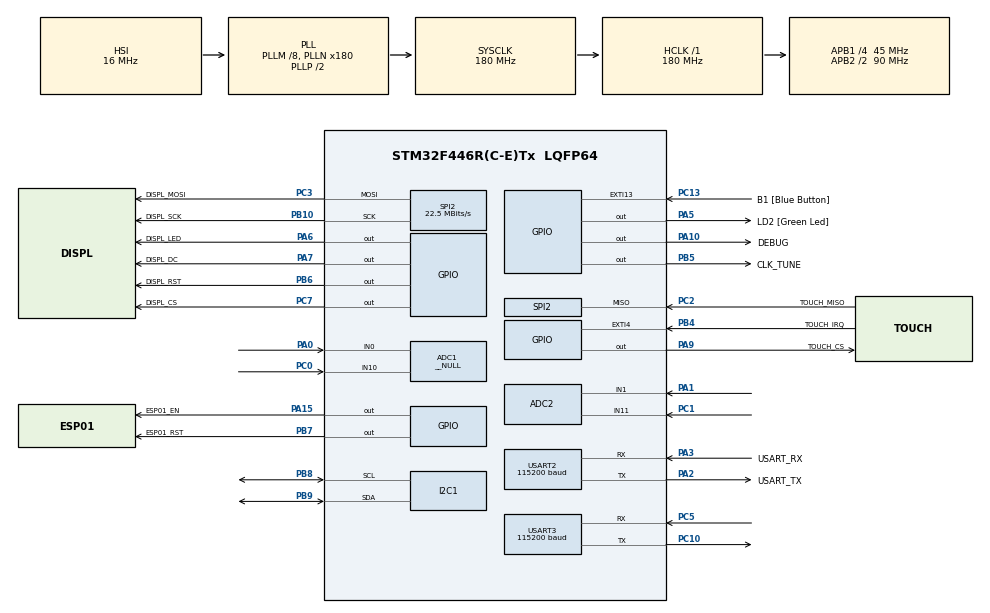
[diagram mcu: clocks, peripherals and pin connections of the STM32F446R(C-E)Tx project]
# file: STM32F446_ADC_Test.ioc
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ADC1.Channel-0\#ChannelRegularConversion=ADC_CHANNEL_0
ADC1.Channel-2\#ChannelRegularConversion=ADC_CHANNEL_10
ADC1.ClockPrescaler=ADC_CLOCK_SYNC_PCLK_DIV8
ADC1.ContinuousConvMode=DISABLE
ADC1.DMAContinuousRequests=ENABLE
ADC1.EOCSelection=ADC_EOC_SEQ_CONV
ADC1.ExternalTrigConv=ADC_EXTERNALTRIGCONV_T2_TRGO
ADC1.Mode=__NULL
ADC1.NbrOfConversion=2
ADC1.NbrOfConversionFlag=1
ADC1.Rank-0\#ChannelRegularConversion=1
ADC1.Rank-2\#ChannelRegularConversion=2
ADC1.SamplingTime-0\#ChannelRegularConversion=ADC_SAMPLETIME_56CYCLES
ADC1.SamplingTime-2\#ChannelRegularConversion=ADC_SAMPLETIME_56CYCLES
ADC1.ScanConvMode=ENABLE
ADC1.master=1
ADC2.Channel-4\#ChannelRegularConversion=ADC_CHANNEL_1
ADC2.Channel-5\#ChannelRegularConversion=ADC_CHANNEL_11
ADC2.ClockPrescaler=ADC_CLOCK_SYNC_PCLK_DIV8
ADC2.DMAContinuousRequests=ENABLE
ADC2.EOCSelection=ADC_EOC_SEQ_CONV
ADC2.ExternalTrigConv=ADC_EXTERNALTRIGCONV_T2_TRGO
ADC2.NbrOfConversion=2
ADC2.NbrOfConversionFlag=1
ADC2.Rank-4\#ChannelRegularConversion=1
ADC2.Rank-5\#ChannelRegularConversion=2
ADC2.SamplingTime-4\#ChannelRegularConversion=ADC_SAMPLETIME_56CYCLES
ADC2.SamplingTime-5\#ChannelRegularConversion=ADC_SAMPLETIME_56CYCLES
ADC2.ScanConvMode=ENABLE
Dma.ADC1.0.Direction=DMA_PERIPH_TO_MEMORY
Dma.ADC1.0.FIFOMode=DMA_FIFOMODE_DISABLE
Dma.ADC1.0.Instance=DMA2_Stream0
Dma.ADC1.0.MemDataAlignment=DMA_MDATAALIGN_HALFWORD
Dma.ADC1.0.MemInc=DMA_MINC_ENABLE
Dma.ADC1.0.Mode=DMA_CIRCULAR
Dma.ADC1.0.PeriphDataAlignment=DMA_PDATAALIGN_HALFWORD
Dma.ADC1.0.PeriphInc=DMA_PINC_DISABLE
Dma.ADC1.0.Priority=DMA_PRIORITY_VERY_HIGH
Dma.ADC2.1.Direction=DMA_PERIPH_TO_MEMORY
Dma.ADC2.1.FIFOMode=DMA_FIFOMODE_DISABLE
Dma.ADC2.1.Instance=DMA2_Stream2
Dma.ADC2.1.MemDataAlignment=DMA_MDATAALIGN_HALFWORD
Dma.ADC2.1.MemInc=DMA_MINC_ENABLE
Dma.ADC2.1.Mode=DMA_CIRCULAR
Dma.ADC2.1.PeriphDataAlignment=DMA_PDATAALIGN_HALFWORD
Dma.ADC2.1.PeriphInc=DMA_PINC_DISABLE
Dma.ADC2.1.Priority=DMA_PRIORITY_VERY_HIGH
Dma.Request0=ADC1
Dma.Request1=ADC2
Dma.Request2=SPI2_TX
Dma.SPI2_TX.2.Direction=DMA_MEMORY_TO_PERIPH
Dma.SPI2_TX.2.FIFOMode=DMA_FIFOMODE_DISABLE
Dma.SPI2_TX.2.Instance=DMA1_Stream4
Dma.SPI2_TX.2.MemDataAlignment=DMA_MDATAALIGN_BYTE
Dma.SPI2_TX.2.MemInc=DMA_MINC_ENABLE
Dma.SPI2_TX.2.Mode=DMA_NORMAL
Dma.SPI2_TX.2.PeriphDataAlignment=DMA_PDATAALIGN_BYTE
Dma.SPI2_TX.2.PeriphInc=DMA_PINC_DISABLE
Dma.SPI2_TX.2.Priority=DMA_PRIORITY_LOW
I2C1.I2C_Mode=I2C_Fast
I2C1.NoStretchMode=I2C_NOSTRETCH_DISABLE
Mcu.Family=STM32F4
Mcu.Name=STM32F446R(C-E)Tx
Mcu.Package=LQFP64
NVIC.DMA1_Stream4_IRQn=true\:0\:0\:false\:false\:true\:false\:true\:true
NVIC.DMA2_Stream0_IRQn=true\:0\:0\:false\:false\:true\:false\:true\:true
NVIC.DMA2_Stream2_IRQn=true\:0\:0\:false\:false\:true\:false\:true\:true
NVIC.EXTI15_10_IRQn=true\:0\:0\:false\:false\:true\:true\:true\:true
NVIC.EXTI4_IRQn=true\:0\:0\:false\:false\:true\:true\:true\:true
NVIC.PriorityGroup=NVIC_PRIORITYGROUP_0
NVIC.SPI2_IRQn=true\:0\:0\:false\:false\:true\:true\:true\:true
NVIC.TIM2_IRQn=true\:0\:0\:false\:false\:true\:true\:true\:true
NVIC.TIM3_IRQn=true\:0\:0\:false\:false\:true\:true\:true\:true
NVIC.USART2_IRQn=true\:0\:0\:false\:false\:true\:true\:true\:true
NVIC.USART3_IRQn=true\:0\:0\:false\:false\:true\:true\:true\:true
PA0-WKUP.Signal=ADCx_IN0
PA1.Signal=ADCx_IN1
PA10.GPIO_Label=DEBUG
PA10.Signal=GPIO_Output
PA13.GPIO_Label=TMS
PA13.Mode=Serial_Wire
PA13.Signal=SYS_JTMS-SWDIO
PA14.GPIO_Label=TCK
PA14.Mode=Serial_Wire
PA14.Signal=SYS_JTCK-SWCLK
PA15.GPIO_Label=ESP01_EN
PA15.Signal=GPIO_Output
PA2.GPIO_Label=USART_TX
PA2.Mode=Asynchronous
PA2.Signal=USART2_TX
PA3.GPIO_Label=USART_RX
PA3.Mode=Asynchronous
PA3.Signal=USART2_RX
PA5.GPIO_Label=LD2 [Green Led]
PA5.Signal=GPIO_Output
PA6.GPIO_Label=DISPL_LED
PA6.Signal=GPIO_Output
PA7.GPIO_Label=DISPL_DC
PA7.GPIO_Speed=GPIO_SPEED_FREQ_HIGH
PA7.Signal=GPIO_Output
PA9.GPIO_Label=TOUCH_CS
PA9.GPIO_Speed=GPIO_SPEED_FREQ_VERY_HIGH
PA9.PinState=GPIO_PIN_SET
PA9.Signal=GPIO_Output
PB10.GPIO_Label=DISPL_SCK
PB10.Mode=Full_Duplex_Master
PB10.Signal=SPI2_SCK
PB3.GPIO_Label=SWO
PB3.Signal=SYS_JTDO-SWO
PB4.GPIO_Label=TOUCH_IRQ
PB4.Signal=GPXTI4
PB5.GPIO_Label=CLK_TUNE
PB5.GPIO_Speed=GPIO_SPEED_FREQ_MEDIUM
PB5.Signal=GPIO_Output
PB6.GPIO_Label=DISPL_RST
PB6.Signal=GPIO_Output
PB7.GPIO_Label=ESP01_RST
PB7.Signal=GPIO_Output
PB8.Mode=I2C
PB8.Signal=I2C1_SCL
PB9.Mode=I2C
PB9.Signal=I2C1_SDA
PC0.Signal=ADCx_IN10
PC1.Signal=ADCx_IN11
PC10.Mode=Asynchronous
PC10.Signal=USART3_TX
PC13.GPIO_Label=B1 [Blue Button]
PC13.Signal=GPXTI13
PC14-OSC32_IN.Mode=LSE-External-Oscillator
PC14-OSC32_IN.Signal=RCC_OSC32_IN
PC15-OSC32_OUT.Mode=LSE-External-Oscillator
PC15-OSC32_OUT.Signal=RCC_OSC32_OUT
PC2.GPIO_Label=TOUCH_MISO
PC2.Mode=Full_Duplex_Master
PC2.Signal=SPI2_MISO
PC3.GPIO_Label=DISPL_MOSI
PC3.Mode=Full_Duplex_Master
PC3.Signal=SPI2_MOSI
PC5.Mode=Asynchronous
PC5.Signal=USART3_RX
PC7.GPIO_Label=DISPL_CS
PC7.GPIO_Speed=GPIO_SPEED_FREQ_VERY_HIGH
PC7.PinState=GPIO_PIN_SET
PC7.Signal=GPIO_Output
PH0-OSC_IN.Mode=HSE-External-Oscillator
PH0-OSC_IN.Signal=RCC_OSC_IN
PH1-OSC_OUT.Mode=HSE-External-Oscillator
PH1-OSC_OUT.Signal=RCC_OSC_OUT
ProjectManager.HeapSize=0x200
ProjectManager.StackSize=0x400
ProjectManager.TargetToolchain=STM32CubeIDE
RCC.48MHZClocksFreq_Value=84000000
RCC.AHBFreq_Value=180000000
RCC.APB1CLKDivider=RCC_HCLK_DIV4
RCC.APB1Freq_Value=45000000
RCC.APB1TimFreq_Value=90000000
RCC.APB2CLKDivider=RCC_HCLK_DIV2
RCC.APB2Freq_Value=90000000
RCC.APB2TimFreq_Value=180000000
RCC.CortexFreq_Value=180000000
RCC.FLatency-AdvancedSettings=FLASH_LATENCY_5
RCC.HCLKFreq_Value=180000000
RCC.HSE_VALUE=8000000
RCC.HSI_VALUE=16000000
RCC.PLLM=8
RCC.PLLN=180
RCC.SYSCLKFreq_VALUE=180000000
RCC.SYSCLKSource=RCC_SYSCLKSOURCE_PLLCLK
RCC.USBFreq_Value=180000000
RCC.VCOOutputFreq_Value=360000000
SH.ADCx_IN0.0=ADC1_IN0,IN0
SH.ADCx_IN1.0=ADC2_IN1,IN1
SH.ADCx_IN10.0=ADC1_IN10,IN10
SH.ADCx_IN11.0=ADC2_IN11,IN11
SPI2.BaudRatePrescaler=SPI_BAUDRATEPRESCALER_2
SPI2.CalculateBaudRate=22.5 MBits/s
SPI2.Direction=SPI_DIRECTION_2LINES
SPI2.Mode=SPI_MODE_MASTER
SPI2.VirtualType=VM_MASTER
TIM2.Period=2250
TIM2.Prescaler=0
TIM2.TIM_MasterOutputTrigger=TIM_TRGO_UPDATE
TIM3.Period=1000
TIM3.Prescaler=9000
TIM3.TIM_MasterOutputTrigger=TIM_TRGO_UPDATE
USART2.BaudRate=115200
USART2.VirtualMode=VM_ASYNC
USART3.BaudRate=115200
USART3.VirtualMode=VM_ASYNC
VP_TIM2_VS_ClockSourceINT.Mode=Internal
VP_TIM3_VS_ClockSourceINT.Mode=Internal
board=NUCLEO-F446RE

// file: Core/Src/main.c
/* USER CODE BEGIN Header */
/**
  ******************************************************************************
  * @file           : main.c
  * @brief          : Main program body
  ******************************************************************************
  * @attention
  *
  * Copyright (c) 2023 STMicroelectronics.
  * All rights reserved.
  *
  * This software is licensed under terms that can be found in the LICENSE file
  * in the root directory of this software component.
  * If no LICENSE file comes with this software, it is provided AS-IS.
  *
  ******************************************************************************
  */
/* USER CODE END Header */
#include "main.h"

/* USER CODE BEGIN Includes */
#include <stdio.h>
#include "global.h"
#include "term.h"
#include "cmd.h"
#include "calc.h"
#include "ee24.h"
#ifdef USE_WIFI
#include "wifi.h"
#endif
#ifdef USE_DISPLAY
#include "display.h"
#endif

/* USER CODE END Includes */

ADC_HandleTypeDef hadc1;
ADC_HandleTypeDef hadc2;
DMA_HandleTypeDef hdma_adc1;
DMA_HandleTypeDef hdma_adc2;

I2C_HandleTypeDef hi2c1;

SPI_HandleTypeDef hspi2;
DMA_HandleTypeDef hdma_spi2_tx;

TIM_HandleTypeDef htim2;
TIM_HandleTypeDef htim3;

UART_HandleTypeDef huart2;
UART_HandleTypeDef huart3;

/* USER CODE BEGIN PV */
const char product_msg[] = "PM1";
const char copyright_msg[] = "(C)2023 Control Technologies P/L";
char msg_buf[256];
char prt_buf[1024];
uint8_t sample_buf_lock = 0xFF;	// lock sample buffer to prevent override

extern uint8_t meter_readings_invalid;
uint8_t meter_readings_invalid_shadow = 0;

// Command Line Interface
__IO uint16_t cli_rx_count = 0;
__IO uint8_t cli_rx_byte;
__IO uint8_t cli_rx_buff[128];
__IO uint8_t cli_rx_cmd_ready = 0;

// WiFi (ESP-01) interface
extern uint16_t esp_rx_count;
extern uint16_t esp_rx_error_count;
extern bool esp_rx_buffer_overflow;
extern uint8_t esp_rx_buf[];
__IO uint8_t esp_rx_byte;
uint16_t esp_rx_count_last = 0;

uint8_t modbus_address = 0;

// EEPROM
#define EEPROM_BUF_SIZE 32
__IO uint8_t eeprom_buf[EEPROM_BUF_SIZE];
extern uint8_t ee24_lock;
extern HAL_StatusTypeDef ee24_result;
extern uint32_t ee24_ErrorCode;
bool ee24_read_done = false;
bool ee24_is_present = false;

__IO uint8_t display_activate = 0;	// screen saver off
__IO uint8_t display_change = 0;		// change active screen
__IO uint8_t touch_action = 0;

uint8_t adc_restart = 0;
uint8_t tft_display = 0;
uint8_t esp_mode = 0;
uint8_t modbus_addr_change = 0;
uint16_t new_time_period = 0;
uint16_t new_energy_time_period = 0;
uint8_t display_screen = 0;		// 0 = splash, 1 = main

__IO int32_t adc1_dma_l_count = 0;
__IO int32_t adc1_dma_h_count = 0;
__IO int32_t adc2_dma_l_count = 0;
__IO int32_t adc2_dma_h_count = 0;

__IO uint16_t adc_dma_buf[ADC_NUM][ADC_DMA_BUF_SIZE];		// one DMA buffer for each ADC (contains both channels)
uint16_t adc_raw_buf[ADC_NUM_BUFFERS][ADC_NUM_DATA];		// buffer for 4 channels of raw ADC data
uint16_t sample_buf[ADC_NUM_BUFFERS][SAMPLE_BUF_SIZE];		// buffer for 4 channels of downsampled data

uint32_t display_off_ticks;
uint32_t touch_debounce_ticks;
uint32_t display_splash_ticks;
uint32_t display_update_ticks;
uint32_t now_ticks, last_ticks;
uint32_t next_measurement_time;
uint32_t next_process_time;

// Storage for Energy totals, one per channel.
// For precise storage
double total_precision_vah[3];
double total_precision_wh[3];
// For EEPROM storage, format: 1/10 VAh/Wh (one implied decimal point)
uint32_t total_vah[3];
uint32_t total_wh[3];
__IO uint8_t energy_total_acc_count = 0;

#ifdef DEBUG
uint32_t measure_ticks, calc_ticks, display_ticks;	// execution time measurement
#endif
#define PROCESS_INTERVAL 100;	// run slow process every n ms
#define SCREEN_MAX 5

#define TOUCH_DEBOUNCE_TIME 500	// ticks

#define CLI_UART huart2
#define ESP_UART huart3

//uint8_t adc_read_idx = 0;
/* USER CODE END PV */

void SystemClock_Config(void);
static void MX_GPIO_Init(void);
static void MX_DMA_Init(void);
static void MX_USART2_UART_Init(void);
static void MX_TIM2_Init(void);
static void MX_ADC1_Init(void);
static void MX_ADC2_Init(void);
static void MX_SPI2_Init(void);
static void MX_USART3_UART_Init(void);
static void MX_I2C1_Init(void);
static void MX_TIM3_Init(void);

/* USER CODE BEGIN 0 */

void start_adcs() {
	// Start ADC1 - keeps running via TIM2
	if ( HAL_ADC_Start_DMA(&hadc1, (uint32_t*)adc_dma_buf[ADC1_IDX], ADC_DMA_BUF_SIZE) != HAL_OK) {
	  term_print("Error starting ADC1 DMA\r\n");
  	  Error_Handler();
	}
	//Start ADC2 - keeps running via TIM2
	if ( HAL_ADC_Start_DMA(&hadc2, (uint32_t*)adc_dma_buf[ADC2_IDX], ADC_DMA_BUF_SIZE) != HAL_OK) {
	  term_print("Error starting ADC2 DMA\r\n");
 	  Error_Handler();
	}
}

/*
 * Change TIM2 Period value (ARR) for timer tuning with oscilloscope
 * This function is used in conjunction with the debug GPIO to tune each individual
 * board to produce 25us signal which is shown on the oscilloscope
 * as a 20kHz square wave (period 50us) as the signal changes
 * with every TIM2 call
 * @para newPeriod  New timer value, must be between 2000 and 2500
 * @para store      1 to store value in eeprom
 * @retval          -1 on failure, 0 on success
 */
int adjust_TIM2_period(uint16_t newPeriod, uint8_t store) {
	if ( (newPeriod > 2500) || (newPeriod < 2000) ) {
		term_print("Invalid period for TIM2 (%u)\r\n", newPeriod);
		return -1;
	}
	TIM2->ARR = (uint32_t) newPeriod;	// change register directly
	term_print("TIM2 ARR %u\r\n", newPeriod);

	if (store) {
		// Store new value in EEPROM memory
		eeprom_buf[0] = (newPeriod & 0xFF00) >> 8;	// High byte
		eeprom_buf[1] = newPeriod & 0xFF;			// Low byte
		if (ee24_write_word(EEPROM_ADDR_TIM2ARR,(uint16_t *) &eeprom_buf) != true ) {
			term_print("%s() - Error: EEPROM write failed\r\n", __FUNCTION__);
			return -1;
		} else {
			term_print("TIM2 ARR %u saved to EEPROM\r\n", newPeriod);
		}
	}
	return 0;
}

int adjust_TIM3_period(uint16_t newPeriod, uint8_t store) {
	if ( (newPeriod > 1500) || (newPeriod < 500) ) {
		term_print("Invalid period for TIM3 (%u)\r\n", newPeriod);
		return -1;
	}
	TIM3->ARR = (uint32_t) newPeriod;	// change register directly
	term_print("TIM3 ARR %u\r\n", TIM3->ARR);

	if (store) {
		// Store new value in EEPROM memory
		eeprom_buf[0] = (newPeriod & 0xFF00) >> 8;	// High byte
		eeprom_buf[1] = newPeriod & 0xFF;			// Low byte
		if (ee24_write_word(EEPROM_ADDR_TIM3ARR,(uint16_t *) &eeprom_buf) != true ) {
			term_print("%s() - Error: EEPROM write failed\r\n", __FUNCTION__);
			return -1;
		} else {
			term_print("TIM3 ARR %u saved to EEPROM\r\n", newPeriod);
		}
	}
	return 0;
}

int set_modbus_address(uint8_t newAddress, uint8_t store) {
	if ((newAddress > 254) || (newAddress < 2)) {
		term_print("Invalid Modbus Address (%d)\r\n", newAddress);
		return -1;
	}
	modbus_address = newAddress;
	term_print("Modbus %d\r\n",modbus_address);
	if (store) {
		// Store new value in EEPROM memory
		eeprom_buf[0] = newAddress;
		if (ee24_write_byte(EEPROM_ADDR_MODBUSADDR, (uint8_t*) &eeprom_buf) != true ) {
			term_print("%s() - Error: EEPROM write failed\r\n", __FUNCTION__);
			return -1;
		} else {
			term_print("Modbus Address %d saved to EEPROM\r\n", newAddress);
		}
	}
	return 0;
}

/*
 * @brief        Initialise energy totals from eeprom
 * @para reset   1 = reset energy values to zero and write to eeprom
 * @retval       0 on success, -1 on failure
 */
int energy_totals_init(uint8_t reset) {
	int i;

	// read VAh from eeprom
	if ( ee24_read(EEPROM_ADDR_VAH, (uint8_t*) &eeprom_buf, 12, 100) != true ) {
		return -1;
	}

	// check if we have a blank eeprom (all bytes 0xFF)
	for (i=0; i<12; i++){
		if (eeprom_buf[i] != 0xFF) break;	// abort loop if we have valid entry
	}
	if ((i >= 12) || (reset) ) {		// if all bytes were 0xFF (blank eeprom) or reset request
		term_print("Init EEPROM with energy totals\r\n");
		for (i=0; i<12; i++) {		// fill eeprom buffer with zero values
			eeprom_buf[i] = 0;
		}
		HAL_Delay(EEPROM_DELAY);
		if (ee24_write(EEPROM_ADDR_VAH, (uint8_t*) &eeprom_buf, 12, 100) != true ) {
			term_print("%s() - Error: EEPROM init VAh failed\r\n", __FUNCTION__);
			return -1;
		}
		HAL_Delay(EEPROM_DELAY);
		if (ee24_write(EEPROM_ADDR_WH, (uint8_t*) &eeprom_buf, 12, 100) != true ) {
			term_print("%s() - Error: EEPROM init Wh failed\r\n", __FUNCTION__);
			return -1;
		}
	}

	//term_print_hex((uint8_t*) &eeprom_buf, 12, 0);
	// move values into variables
	memcpy(&total_vah[0], (uint8_t*) &eeprom_buf, 12);

	// read Wh from eeprom
	HAL_Delay(EEPROM_DELAY);
	if (ee24_read(EEPROM_ADDR_WH, (uint8_t*) &eeprom_buf, 12, 100) == true) {
		//term_print_hex((uint8_t*) &eeprom_buf, 12, 0);
		memcpy(&total_wh[0], (uint8_t*) &eeprom_buf, 12);
	}

	// initialise precision values
	for (i=0; i<3; i++) {
		total_precision_vah[i] = (double) total_vah[i] / (double)10.0;
		total_precision_wh[i] = (double) total_wh[i] / (double)10.0;
	}
	return 0;
}

/*
 * @brief    Write energy totals to eeprom
 */
void energy_totals_save() {
	memcpy((uint8_t*) &eeprom_buf, &total_vah[0], 12);
	ee24_write(EEPROM_ADDR_VAH, (uint8_t*) &eeprom_buf, 12, 100);
	HAL_Delay(EEPROM_DELAY);
	memcpy((uint8_t*) &eeprom_buf, &total_wh[0], 12);
	ee24_write(EEPROM_ADDR_WH, (uint8_t*) &eeprom_buf, 12, 100);
}

/*
 * @brief  Function to manage version change and update stored parameters
 */
void version_change(uint8_t old_major, uint8_t old_minor) {
	// update version number in EEPROM
	eeprom_buf[0] = VERSION_MAJOR; eeprom_buf[1] = VERSION_MINOR;
	if (ee24_write_word(EEPROM_ADDR_VERSION,(uint16_t *) &eeprom_buf) != true ) {
		term_print("%s() - Error: EEPROM write failed\r\n", __FUNCTION__);
	}
}

void eeprom() {
	if (!ee24_isConnected()) {
		  term_print("%s() - Error: EEPROM not found\r\n", __FUNCTION__);
	  } else {
		  if (ee24_read_word(EEPROM_ADDR_VERSION, (uint16_t *) &eeprom_buf) != true) {
			  term_print("Error: EEPROM read error\r\n");
		  } else {
			ee24_is_present = true;
			//term_print("\r\nEEPROM:\r\nV%d.%02d\r\n", eeprom_buf[0], eeprom_buf[1]);
			if ((eeprom_buf[0] == 0xFF) && (eeprom_buf[1] == 0xFF)) {		// new/blank EEPROM
				eeprom_buf[0] = VERSION_MAJOR; eeprom_buf[1] = VERSION_MINOR;
				term_print("Updating Version in EEPROM\r\n", __FUNCTION__);
				if (ee24_write_word(EEPROM_ADDR_VERSION,(uint16_t *) &eeprom_buf) != true ) {
					term_print("%s() - Error: EEPROM write failed\r\n", __FUNCTION__);
				}
			}
			// Detect version change
			if ((eeprom_buf[0]!=VERSION_MAJOR) || (eeprom_buf[0]!=VERSION_MINOR)) {
				version_change(eeprom_buf[0], eeprom_buf[1]);
			}

			// Read TIM2 ARR value
			HAL_Delay(EEPROM_DELAY);		// Minimum delay between EEPROM access
			if (ee24_read_word(EEPROM_ADDR_TIM2ARR, (uint16_t *) &eeprom_buf) == true) {
				uint16_t value = eeprom_buf[0]*256 + eeprom_buf[1];
				if (adjust_TIM2_period(value, 0) < 0) {		// adjust timer value, don't store
					term_print("%s() - Unable to write %u to TIM2_ARR\r\n", __FUNCTION__, value);
				}
			} else {
				term_print("%s() - EEPROM read error (ee24_ErrorCode = %u)\r\n", __FUNCTION__, ee24_ErrorCode);
				term_print("TIM2 ARR %d\r\n",TIM2->ARR);
			}

			// Read TIM3 ARR value
			HAL_Delay(EEPROM_DELAY);		// Minimum delay between EEPROM access
			if (ee24_read_word(EEPROM_ADDR_TIM3ARR, (uint16_t *) &eeprom_buf) == true) {
				uint16_t value = eeprom_buf[0]*256 + eeprom_buf[1];
				if (adjust_TIM3_period(value, 0) < 0) {		// adjust timer value, don't store
					term_print("%s() - Unable to write %u to TIM3_ARR\r\n", __FUNCTION__, value);
				}
			} else {
				term_print("%s() - EEPROM read error (ee24_ErrorCode = %u)\r\n", __FUNCTION__, ee24_ErrorCode);
				term_print("TIM3 ARR %d\r\n",TIM2->ARR);
			}

			HAL_Delay(EEPROM_DELAY);		// Minimum delay between EEPROM access
			if (ee24_read_byte(EEPROM_ADDR_MODBUSADDR, (uint8_t*) &eeprom_buf) == true) {
				//term_print("EEPROM Modbus: %d\r\n", eeprom_buf[0]);
				set_modbus_address(eeprom_buf[0], 0);
			}

			HAL_Delay(EEPROM_DELAY);		// Minimum delay between EEPROM access
			energy_totals_init(0);
		}
	}
}

void low_voltage_detected() {
	// switch off LED backlight to preserve power
	HAL_GPIO_WritePin(DISPL_LED_GPIO_Port, DISPL_LED_Pin, GPIO_PIN_RESET);
	energy_totals_save();
	term_print("Low Voltage detected\r\n");
}

/* USER CODE END 0 */

int main(void)
{

  /* MCU Configuration--------------------------------------------------------*/

  /* Reset of all peripherals, Initializes the Flash interface and the Systick. */
  HAL_Init();

  /* Configure the system clock */
  SystemClock_Config();

  /* Initialize all configured peripherals */
  MX_GPIO_Init();
  MX_DMA_Init();
  MX_USART2_UART_Init();
  MX_TIM2_Init();
  MX_ADC1_Init();
  MX_ADC2_Init();
  MX_SPI2_Init();
  MX_USART3_UART_Init();
  MX_I2C1_Init();
  MX_TIM3_Init();
  /* USER CODE BEGIN 2 */

  eeprom();	// Load values from EEPROM

#ifdef USE_DISPLAY
  // TFT Display
  display_init(); // THIS FUNCTION MUST PRECEED ANY OTHER DISPLAY FUNCTION CALL.
#endif

  // Start CLI UART receive via interrupt
  if (HAL_UART_Receive_IT(&CLI_UART, (uint8_t*)&cli_rx_byte, 1) != HAL_OK) {
    Error_Handler();
  }
#ifdef USE_WIFI
  // Start ESP UART receive via interrupt
  if (HAL_UART_Receive_IT(&ESP_UART, (uint8_t*)&esp_rx_byte, 1) != HAL_OK) {
      Error_Handler();
  }
#endif

  // Start Timer for ADC readings
  if (HAL_TIM_Base_Start_IT(&htim2) != HAL_OK) {
     Error_Handler();
  }

  // Start Timer for Energy integration
    if (HAL_TIM_Base_Start_IT(&htim3) != HAL_OK) {
       Error_Handler();
    }

  // Start ADCs
  start_adcs();

#ifdef USE_DISPLAY
  display_splash_screen();
  display_splash_ticks = HAL_GetTick() + SPLASH_SCREEN_TIME;
#endif

  // Startup message
  sprintf(msg_buf, "\r\n%s V%d.%02d\r\n%s\r\n",  product_msg ,VERSION_MAJOR, VERSION_MINOR, copyright_msg);
  if (HAL_UART_Transmit(&CLI_UART, (uint8_t*)msg_buf, strlen(msg_buf), 1000) != HAL_OK) {
	  Error_Handler();
  }

#ifdef USE_WIFI
  // Enable ESP 01
  HAL_GPIO_WritePin (ESP01_EN_GPIO_Port, ESP01_EN_Pin, GPIO_PIN_SET);
  // Perform reset
  HAL_GPIO_WritePin (ESP01_RST_GPIO_Port, ESP01_RST_Pin, GPIO_PIN_RESET);
  HAL_Delay(100);
  HAL_GPIO_WritePin (ESP01_RST_GPIO_Port, ESP01_RST_Pin, GPIO_PIN_SET);

  // Get ESP version info
  /*sprintf(msg_buf, "AT+GMR\r\n");
  if (HAL_UART_Transmit(&ESP_UART, (uint8_t*)msg_buf, strlen(msg_buf), 1000) != HAL_OK) {
  	  Error_Handler();
  }*/
#endif

  /* USER CODE END 2 */

  /* Infinite loop */
  /* USER CODE BEGIN WHILE */
  next_process_time = HAL_GetTick() + PROCESS_INTERVAL;
  //term_print("current: %lu next: %lu\r\n", HAL_GetTick(), next_process_time);
  next_measurement_time = HAL_GetTick() + MEASUREMENT_INTERVAL;
  while (1)
  {
    /* USER CODE END WHILE */

    /* USER CODE BEGIN 3 */
	now_ticks = HAL_GetTick();
	// look for ticks overrun
	if (now_ticks < last_ticks) {
		next_process_time = now_ticks + PROCESS_INTERVAL;
		if (display_off_ticks) { display_off_ticks = now_ticks + DISPLAY_TIMEOUT; }
		display_update_ticks = now_ticks + DISPLAY_UPDATE_TIME;
		next_measurement_time = now_ticks + MEASUREMENT_INTERVAL;
	}
	last_ticks = now_ticks;		// store for compare in next iteration

	// perform measurements and update the display
	if ( now_ticks >= next_measurement_time ) {
		next_measurement_time += MEASUREMENT_INTERVAL;
#ifdef DEBUG
		measure_ticks = HAL_GetTick();
#endif
		calc_measurements();
		if ((meter_readings_invalid) && (meter_readings_invalid_shadow == 0)) {
			low_voltage_detected();
			meter_readings_invalid_shadow = meter_readings_invalid;
		}
#ifdef DEBUG
		calc_ticks = HAL_GetTick() - measure_ticks;		// calculation execution time
#endif

#ifdef USE_DISPLAY
		// update meter display, only if display is visible ( backlight on )
		if ((HAL_GPIO_ReadPin(DISPL_LED_GPIO_Port, DISPL_LED_Pin) == GPIO_PIN_SET) && (display_screen)) {
#ifdef DEBUG
			measure_ticks = HAL_GetTick();
#endif
			display_update_meter(display_screen);
#ifdef DEBUG
			display_ticks = HAL_GetTick() - measure_ticks;		// display update execution time
#endif
		}
#endif
	}

	// process slow tasks
	if ( now_ticks >= next_process_time ) {
		next_process_time = now_ticks + PROCESS_INTERVAL;

		// clear splash screen
		if (display_splash_ticks) {
			if (now_ticks >= display_splash_ticks) {
				display_splash_ticks = 0;
#ifdef USE_DISPLAY
				//display_meter_mask();
				display_screen = 4;		// set to main screen
				display_off_ticks = now_ticks + DISPLAY_TIMEOUT;
#endif
			}
		}
		/*else {
		// Meter display update
			if (now_ticks >= display_update_ticks) {
				display_update_ticks = now_ticks + DISPLAY_UPDATE_TIME;
				// Don't update unless the display back light is on
				if (HAL_GPIO_ReadPin(DISPL_LED_GPIO_Port, DISPL_LED_Pin) == GPIO_PIN_SET) {
					//display_update_meter();
				}
			}
		}*/

		// Handle CLI UART communication
		if (cli_rx_cmd_ready) {
			if (esp_mode) {
				if (cli_rx_buff[0] == '~') { // cancel ESP mode
					esp_mode = 0;
					term_print("\r\nESP mode deactivated\r\n");
				} else {
					sprintf(msg_buf, "%s\r\n", cli_rx_buff);	// send command line to ESP01
					if (HAL_UART_Transmit(&ESP_UART, (uint8_t*)msg_buf, strlen(msg_buf), 1000) != HAL_OK) {
						Error_Handler();
					}
					term_print("%s", msg_buf);
				}
			} else {
				CMD_Handler((uint8_t*)cli_rx_buff);
			}
			cli_rx_count = 0;
			cli_rx_cmd_ready = 0;
		}

#ifdef USE_WIFI
		// Handle ESP UART communication
		if (esp_rx_count > 0) {		// do we have any RX data from the ESP?
			if (esp_rx_count_last != esp_rx_count) { 	// has the RX count changed since last iteration?
				esp_rx_count_last = esp_rx_count;		// yes -> update last count, RX not finished yet
			} else {	// count hasn't changed since last iteration, we assume RX is completed
				if (!esp_mode) {
					wifi_handle_esp_rx_data();
				} else {		// ESP in terminal mode
					esp_rx_buf[esp_rx_count] = 0;	// Set EOS
					term_print("%s", esp_rx_buf);
				}
				esp_rx_count = 0;
				esp_rx_count_last = esp_rx_count;
			}
		}
#endif		// USE_WIFI

		if (adc_restart) {
			adc_restart = 0;
			start_adcs();
		}

		if (new_time_period) {
			// change timer period to new value
			adjust_TIM2_period(new_time_period, 1);
			new_time_period = 0;
		}

		if (new_energy_time_period) {
			adjust_TIM3_period(new_energy_time_period, 1);
			new_energy_time_period = 0;
		}

		if (modbus_addr_change) {
			set_modbus_address(modbus_addr_change, 1);
			modbus_addr_change = 0;
		}

#ifdef USE_DISPLAY

		if (display_change) {
			display_screen++;
			if (display_screen > SCREEN_MAX) {
				display_screen = 1;
			}
			display_change = 0;
			display_off_ticks = HAL_GetTick() + DISPLAY_TIMEOUT;	// restart screen saver
		}

		// display timeout
		if (display_off_ticks && (now_ticks >= display_off_ticks)) {
			Displ_BackLight('0');
			display_off_ticks = 0;
		}

		if (tft_display) {
			if (tft_display == 9) {
				term_print("Running TFT performance test ...\r\n");
				Displ_BackLight('1');
				Displ_TestAll();
				Displ_BackLight('0');
				term_print("....completed\r\n");
			} else {
				if (tft_display == 1) {
					Displ_BackLight('0');
				} else {
					Displ_BackLight('1');
					display_off_ticks = HAL_GetTick() + DISPLAY_TIMEOUT;
					display_update_mask();
				}
			}
		tft_display = 0;
		}

		if (display_activate) {		// set by touch screen or blue button
			display_activate = 0;
			display_update_mask();
			Displ_BackLight('1');
			display_off_ticks = HAL_GetTick() + DISPLAY_TIMEOUT;
		}

		if (touch_action) {			// touch screen
			touch_action = 0;
			if (now_ticks < touch_debounce_ticks){
				;	// do nothing
			} else {
				touch_debounce_ticks = HAL_GetTick() + TOUCH_DEBOUNCE_TIME;
				// if Backlight is OFF
				if (HAL_GPIO_ReadPin(DISPL_LED_GPIO_Port, DISPL_LED_Pin) == GPIO_PIN_RESET) {
					display_activate = 1;		// activate backlight
				} else {		// backlight is already on -> change display
					display_change = 1;
				}
			}
		}

#endif		// USE_DISPLAY

	}	// slow processing loop

		// Check if we have missed processing DMA data sets
		// This occurs if the main loop execution takes longer than 20ms (e.g. serial terminal output or display)
		if ( (adc1_dma_l_count > 1) || (adc1_dma_h_count > 1) || (adc2_dma_l_count > 1) || (adc2_dma_h_count > 1)) {
			//term_print("Processing has missed data - %lu %lu %lu %lu\r\n", adc1_dma_l_count, adc1_dma_h_count, adc2_dma_l_count, adc2_dma_h_count);
			if (adc1_dma_l_count > 1) adc1_dma_l_count = 1;
			if (adc1_dma_h_count > 1) adc1_dma_h_count = 1;
			if (adc2_dma_l_count > 1) adc2_dma_l_count = 1;
			if (adc2_dma_h_count > 1) adc2_dma_h_count = 1;
		}

		// Process DMA buffers
		if (adc1_dma_l_count > 0) {
			if (calc_process_dma_buffer(0,ADC1_IDX) != 0) {
				term_print("Processing ADC1 DMA 1st half failed\r\n");
			}
			adc1_dma_l_count--;
		}
		if (adc1_dma_h_count > 0) {
			if (calc_process_dma_buffer(1,ADC1_IDX) != 0) {
				term_print("Processing ADC1 DMA 2nd half failed\r\n");
			}
			adc1_dma_h_count--;
		}
		if (adc2_dma_l_count > 0) {
			if (calc_process_dma_buffer(0,ADC2_IDX) != 0) {
				term_print("Processing ADC2 DMA 1st half failed\r\n");
			}
			adc2_dma_l_count--;
		}
		if (adc2_dma_h_count > 0) {
			if (calc_process_dma_buffer(1,ADC2_IDX) != 0) {
				term_print("Processing ADC2 DMA 2nd half failed\r\n");
			}
			adc2_dma_h_count--;
		}

		// Update energy totals from accumulated values
		if (energy_total_acc_count > 0) {
			calc_update_energy_totals(energy_total_acc_count);
			energy_total_acc_count = 0;
		}
	}
  /* USER CODE END 3 */
}

void SystemClock_Config(void)
{
  RCC_OscInitTypeDef RCC_OscInitStruct = {0};
  RCC_ClkInitTypeDef RCC_ClkInitStruct = {0};

  /** Configure the main internal regulator output voltage
  */
  __HAL_RCC_PWR_CLK_ENABLE();
  __HAL_PWR_VOLTAGESCALING_CONFIG(PWR_REGULATOR_VOLTAGE_SCALE1);

  /** Initializes the RCC Oscillators according to the specified parameters
  * in the RCC_OscInitTypeDef structure.
  */
  RCC_OscInitStruct.OscillatorType = RCC_OSCILLATORTYPE_HSI;
  RCC_OscInitStruct.HSIState = RCC_HSI_ON;
  RCC_OscInitStruct.HSICalibrationValue = RCC_HSICALIBRATION_DEFAULT;
  RCC_OscInitStruct.PLL.PLLState = RCC_PLL_ON;
  RCC_OscInitStruct.PLL.PLLSource = RCC_PLLSOURCE_HSI;
  RCC_OscInitStruct.PLL.PLLM = 8;
  RCC_OscInitStruct.PLL.PLLN = 180;
  RCC_OscInitStruct.PLL.PLLP = RCC_PLLP_DIV2;
  RCC_OscInitStruct.PLL.PLLQ = 2;
  RCC_OscInitStruct.PLL.PLLR = 2;
  if (HAL_RCC_OscConfig(&RCC_OscInitStruct) != HAL_OK)
  {
    Error_Handler();
  }

  /** Activate the Over-Drive mode
  */
  if (HAL_PWREx_EnableOverDrive() != HAL_OK)
  {
    Error_Handler();
  }

  /** Initializes the CPU, AHB and APB buses clocks
  */
  RCC_ClkInitStruct.ClockType = RCC_CLOCKTYPE_HCLK|RCC_CLOCKTYPE_SYSCLK
                              |RCC_CLOCKTYPE_PCLK1|RCC_CLOCKTYPE_PCLK2;
  RCC_ClkInitStruct.SYSCLKSource = RCC_SYSCLKSOURCE_PLLCLK;
  RCC_ClkInitStruct.AHBCLKDivider = RCC_SYSCLK_DIV1;
  RCC_ClkInitStruct.APB1CLKDivider = RCC_HCLK_DIV4;
  RCC_ClkInitStruct.APB2CLKDivider = RCC_HCLK_DIV2;

  if (HAL_RCC_ClockConfig(&RCC_ClkInitStruct, FLASH_LATENCY_5) != HAL_OK)
  {
    Error_Handler();
  }
}

static void MX_ADC1_Init(void)
{

  ADC_ChannelConfTypeDef sConfig = {0};

  /** Configure the global features of the ADC (Clock, Resolution, Data Alignment and number of conversion)
  */
  hadc1.Instance = ADC1;
  hadc1.Init.ClockPrescaler = ADC_CLOCK_SYNC_PCLK_DIV8;
  hadc1.Init.Resolution = ADC_RESOLUTION_12B;
  hadc1.Init.ScanConvMode = ENABLE;
  hadc1.Init.ContinuousConvMode = DISABLE;
  hadc1.Init.DiscontinuousConvMode = DISABLE;
  hadc1.Init.ExternalTrigConvEdge = ADC_EXTERNALTRIGCONVEDGE_RISING;
  hadc1.Init.ExternalTrigConv = ADC_EXTERNALTRIGCONV_T2_TRGO;
  hadc1.Init.DataAlign = ADC_DATAALIGN_RIGHT;
  hadc1.Init.NbrOfConversion = 2;
  hadc1.Init.DMAContinuousRequests = ENABLE;
  hadc1.Init.EOCSelection = ADC_EOC_SEQ_CONV;
  if (HAL_ADC_Init(&hadc1) != HAL_OK)
  {
    Error_Handler();
  }

  /** Configure for the selected ADC regular channel its corresponding rank in the sequencer and its sample time.
  */
  sConfig.Channel = ADC_CHANNEL_0;
  sConfig.Rank = 1;
  sConfig.SamplingTime = ADC_SAMPLETIME_56CYCLES;
  if (HAL_ADC_ConfigChannel(&hadc1, &sConfig) != HAL_OK)
  {
    Error_Handler();
  }

  /** Configure for the selected ADC regular channel its corresponding rank in the sequencer and its sample time.
  */
  sConfig.Channel = ADC_CHANNEL_10;
  sConfig.Rank = 2;
  if (HAL_ADC_ConfigChannel(&hadc1, &sConfig) != HAL_OK)
  {
    Error_Handler();
  }

}

static void MX_ADC2_Init(void)
{

  ADC_ChannelConfTypeDef sConfig = {0};

  /** Configure the global features of the ADC (Clock, Resolution, Data Alignment and number of conversion)
  */
  hadc2.Instance = ADC2;
  hadc2.Init.ClockPrescaler = ADC_CLOCK_SYNC_PCLK_DIV8;
  hadc2.Init.Resolution = ADC_RESOLUTION_12B;
  hadc2.Init.ScanConvMode = ENABLE;
  hadc2.Init.ContinuousConvMode = DISABLE;
  hadc2.Init.DiscontinuousConvMode = DISABLE;
  hadc2.Init.ExternalTrigConvEdge = ADC_EXTERNALTRIGCONVEDGE_RISING;
  hadc2.Init.ExternalTrigConv = ADC_EXTERNALTRIGCONV_T2_TRGO;
  hadc2.Init.DataAlign = ADC_DATAALIGN_RIGHT;
  hadc2.Init.NbrOfConversion = 2;
  hadc2.Init.DMAContinuousRequests = ENABLE;
  hadc2.Init.EOCSelection = ADC_EOC_SEQ_CONV;
  if (HAL_ADC_Init(&hadc2) != HAL_OK)
  {
    Error_Handler();
  }

  /** Configure for the selected ADC regular channel its corresponding rank in the sequencer and its sample time.
  */
  sConfig.Channel = ADC_CHANNEL_1;
  sConfig.Rank = 1;
  sConfig.SamplingTime = ADC_SAMPLETIME_56CYCLES;
  if (HAL_ADC_ConfigChannel(&hadc2, &sConfig) != HAL_OK)
  {
    Error_Handler();
  }

  /** Configure for the selected ADC regular channel its corresponding rank in the sequencer and its sample time.
  */
  sConfig.Channel = ADC_CHANNEL_11;
  sConfig.Rank = 2;
  if (HAL_ADC_ConfigChannel(&hadc2, &sConfig) != HAL_OK)
  {
    Error_Handler();
  }

}

static void MX_I2C1_Init(void)
{

  hi2c1.Instance = I2C1;
  hi2c1.Init.ClockSpeed = 400000;
  hi2c1.Init.DutyCycle = I2C_DUTYCYCLE_2;
  hi2c1.Init.OwnAddress1 = 0;
  hi2c1.Init.AddressingMode = I2C_ADDRESSINGMODE_7BIT;
  hi2c1.Init.DualAddressMode = I2C_DUALADDRESS_DISABLE;
  hi2c1.Init.OwnAddress2 = 0;
  hi2c1.Init.GeneralCallMode = I2C_GENERALCALL_DISABLE;
  hi2c1.Init.NoStretchMode = I2C_NOSTRETCH_DISABLE;
  if (HAL_I2C_Init(&hi2c1) != HAL_OK)
  {
    Error_Handler();
  }

}

static void MX_SPI2_Init(void)
{

  /* SPI2 parameter configuration*/
  hspi2.Instance = SPI2;
  hspi2.Init.Mode = SPI_MODE_MASTER;
  hspi2.Init.Direction = SPI_DIRECTION_2LINES;
  hspi2.Init.DataSize = SPI_DATASIZE_8BIT;
  hspi2.Init.CLKPolarity = SPI_POLARITY_LOW;
  hspi2.Init.CLKPhase = SPI_PHASE_1EDGE;
  hspi2.Init.NSS = SPI_NSS_SOFT;
  hspi2.Init.BaudRatePrescaler = SPI_BAUDRATEPRESCALER_2;
  hspi2.Init.FirstBit = SPI_FIRSTBIT_MSB;
  hspi2.Init.TIMode = SPI_TIMODE_DISABLE;
  hspi2.Init.CRCCalculation = SPI_CRCCALCULATION_DISABLE;
  hspi2.Init.CRCPolynomial = 10;
  if (HAL_SPI_Init(&hspi2) != HAL_OK)
  {
    Error_Handler();
  }

}

static void MX_TIM2_Init(void)
{

  TIM_ClockConfigTypeDef sClockSourceConfig = {0};
  TIM_MasterConfigTypeDef sMasterConfig = {0};

  htim2.Instance = TIM2;
  htim2.Init.Prescaler = 0;
  htim2.Init.CounterMode = TIM_COUNTERMODE_UP;
  htim2.Init.Period = 2250;
  htim2.Init.ClockDivision = TIM_CLOCKDIVISION_DIV1;
  htim2.Init.AutoReloadPreload = TIM_AUTORELOAD_PRELOAD_DISABLE;
  if (HAL_TIM_Base_Init(&htim2) != HAL_OK)
  {
    Error_Handler();
  }
  sClockSourceConfig.ClockSource = TIM_CLOCKSOURCE_INTERNAL;
  if (HAL_TIM_ConfigClockSource(&htim2, &sClockSourceConfig) != HAL_OK)
  {
    Error_Handler();
  }
  sMasterConfig.MasterOutputTrigger = TIM_TRGO_UPDATE;
  sMasterConfig.MasterSlaveMode = TIM_MASTERSLAVEMODE_DISABLE;
  if (HAL_TIMEx_MasterConfigSynchronization(&htim2, &sMasterConfig) != HAL_OK)
  {
    Error_Handler();
  }

}

static void MX_TIM3_Init(void)
{

  TIM_ClockConfigTypeDef sClockSourceConfig = {0};
  TIM_MasterConfigTypeDef sMasterConfig = {0};

  htim3.Instance = TIM3;
  htim3.Init.Prescaler = 9000;
  htim3.Init.CounterMode = TIM_COUNTERMODE_UP;
  htim3.Init.Period = 1000;
  htim3.Init.ClockDivision = TIM_CLOCKDIVISION_DIV1;
  htim3.Init.AutoReloadPreload = TIM_AUTORELOAD_PRELOAD_DISABLE;
  if (HAL_TIM_Base_Init(&htim3) != HAL_OK)
  {
    Error_Handler();
  }
  sClockSourceConfig.ClockSource = TIM_CLOCKSOURCE_INTERNAL;
  if (HAL_TIM_ConfigClockSource(&htim3, &sClockSourceConfig) != HAL_OK)
  {
    Error_Handler();
  }
  sMasterConfig.MasterOutputTrigger = TIM_TRGO_UPDATE;
  sMasterConfig.MasterSlaveMode = TIM_MASTERSLAVEMODE_DISABLE;
  if (HAL_TIMEx_MasterConfigSynchronization(&htim3, &sMasterConfig) != HAL_OK)
  {
    Error_Handler();
  }

}

static void MX_USART2_UART_Init(void)
{

  huart2.Instance = USART2;
  huart2.Init.BaudRate = 115200;
  huart2.Init.WordLength = UART_WORDLENGTH_8B;
  huart2.Init.StopBits = UART_STOPBITS_1;
  huart2.Init.Parity = UART_PARITY_NONE;
  huart2.Init.Mode = UART_MODE_TX_RX;
  huart2.Init.HwFlowCtl = UART_HWCONTROL_NONE;
  huart2.Init.OverSampling = UART_OVERSAMPLING_16;
  if (HAL_UART_Init(&huart2) != HAL_OK)
  {
    Error_Handler();
  }

}

static void MX_USART3_UART_Init(void)
{

  huart3.Instance = USART3;
  huart3.Init.BaudRate = 115200;
  huart3.Init.WordLength = UART_WORDLENGTH_8B;
  huart3.Init.StopBits = UART_STOPBITS_1;
  huart3.Init.Parity = UART_PARITY_NONE;
  huart3.Init.Mode = UART_MODE_TX_RX;
  huart3.Init.HwFlowCtl = UART_HWCONTROL_NONE;
  huart3.Init.OverSampling = UART_OVERSAMPLING_16;
  if (HAL_UART_Init(&huart3) != HAL_OK)
  {
    Error_Handler();
  }

}

static void MX_DMA_Init(void)
{

  /* DMA controller clock enable */
  __HAL_RCC_DMA2_CLK_ENABLE();
  __HAL_RCC_DMA1_CLK_ENABLE();

  /* DMA interrupt init */
  /* DMA1_Stream4_IRQn interrupt configuration */
  HAL_NVIC_SetPriority(DMA1_Stream4_IRQn, 0, 0);
  HAL_NVIC_EnableIRQ(DMA1_Stream4_IRQn);
  /* DMA2_Stream0_IRQn interrupt configuration */
  HAL_NVIC_SetPriority(DMA2_Stream0_IRQn, 0, 0);
  HAL_NVIC_EnableIRQ(DMA2_Stream0_IRQn);
  /* DMA2_Stream2_IRQn interrupt configuration */
  HAL_NVIC_SetPriority(DMA2_Stream2_IRQn, 0, 0);
  HAL_NVIC_EnableIRQ(DMA2_Stream2_IRQn);

}

static void MX_GPIO_Init(void)
{
  GPIO_InitTypeDef GPIO_InitStruct = {0};

  /* GPIO Ports Clock Enable */
  __HAL_RCC_GPIOC_CLK_ENABLE();
  __HAL_RCC_GPIOH_CLK_ENABLE();
  __HAL_RCC_GPIOA_CLK_ENABLE();
  __HAL_RCC_GPIOB_CLK_ENABLE();

  /*Configure GPIO pin Output Level */
  HAL_GPIO_WritePin(GPIOA, LD2_Pin|DISPL_LED_Pin|DISPL_DC_Pin|DEBUG_Pin
                          |ESP01_EN_Pin, GPIO_PIN_RESET);

  /*Configure GPIO pin Output Level */
  HAL_GPIO_WritePin(DISPL_CS_GPIO_Port, DISPL_CS_Pin, GPIO_PIN_SET);

  /*Configure GPIO pin Output Level */
  HAL_GPIO_WritePin(TOUCH_CS_GPIO_Port, TOUCH_CS_Pin, GPIO_PIN_SET);

  /*Configure GPIO pin Output Level */
  HAL_GPIO_WritePin(GPIOB, CLK_TUNE_Pin|DISPL_RST_Pin|ESP01_RST_Pin, GPIO_PIN_RESET);

  /*Configure GPIO pin : B1_Pin */
  GPIO_InitStruct.Pin = B1_Pin;
  GPIO_InitStruct.Mode = GPIO_MODE_IT_RISING;
  GPIO_InitStruct.Pull = GPIO_NOPULL;
  HAL_GPIO_Init(B1_GPIO_Port, &GPIO_InitStruct);

  /*Configure GPIO pins : LD2_Pin DISPL_LED_Pin DEBUG_Pin ESP01_EN_Pin */
  GPIO_InitStruct.Pin = LD2_Pin|DISPL_LED_Pin|DEBUG_Pin|ESP01_EN_Pin;
  GPIO_InitStruct.Mode = GPIO_MODE_OUTPUT_PP;
  GPIO_InitStruct.Pull = GPIO_NOPULL;
  GPIO_InitStruct.Speed = GPIO_SPEED_FREQ_LOW;
  HAL_GPIO_Init(GPIOA, &GPIO_InitStruct);

  /*Configure GPIO pin : DISPL_DC_Pin */
  GPIO_InitStruct.Pin = DISPL_DC_Pin;
  GPIO_InitStruct.Mode = GPIO_MODE_OUTPUT_PP;
  GPIO_InitStruct.Pull = GPIO_NOPULL;
  GPIO_InitStruct.Speed = GPIO_SPEED_FREQ_HIGH;
  HAL_GPIO_Init(DISPL_DC_GPIO_Port, &GPIO_InitStruct);

  /*Configure GPIO pin : DISPL_CS_Pin */
  GPIO_InitStruct.Pin = DISPL_CS_Pin;
  GPIO_InitStruct.Mode = GPIO_MODE_OUTPUT_PP;
  GPIO_InitStruct.Pull = GPIO_NOPULL;
  GPIO_InitStruct.Speed = GPIO_SPEED_FREQ_VERY_HIGH;
  HAL_GPIO_Init(DISPL_CS_GPIO_Port, &GPIO_InitStruct);

  /*Configure GPIO pin : TOUCH_CS_Pin */
  GPIO_InitStruct.Pin = TOUCH_CS_Pin;
  GPIO_InitStruct.Mode = GPIO_MODE_OUTPUT_PP;
  GPIO_InitStruct.Pull = GPIO_NOPULL;
  GPIO_InitStruct.Speed = GPIO_SPEED_FREQ_VERY_HIGH;
  HAL_GPIO_Init(TOUCH_CS_GPIO_Port, &GPIO_InitStruct);

  /*Configure GPIO pin : TOUCH_IRQ_Pin */
  GPIO_InitStruct.Pin = TOUCH_IRQ_Pin;
  GPIO_InitStruct.Mode = GPIO_MODE_IT_RISING;
  GPIO_InitStruct.Pull = GPIO_NOPULL;
  HAL_GPIO_Init(TOUCH_IRQ_GPIO_Port, &GPIO_InitStruct);

  /*Configure GPIO pin : CLK_TUNE_Pin */
  GPIO_InitStruct.Pin = CLK_TUNE_Pin;
  GPIO_InitStruct.Mode = GPIO_MODE_OUTPUT_PP;
  GPIO_InitStruct.Pull = GPIO_NOPULL;
  GPIO_InitStruct.Speed = GPIO_SPEED_FREQ_MEDIUM;
  HAL_GPIO_Init(CLK_TUNE_GPIO_Port, &GPIO_InitStruct);

  /*Configure GPIO pins : DISPL_RST_Pin ESP01_RST_Pin */
  GPIO_InitStruct.Pin = DISPL_RST_Pin|ESP01_RST_Pin;
  GPIO_InitStruct.Mode = GPIO_MODE_OUTPUT_PP;
  GPIO_InitStruct.Pull = GPIO_NOPULL;
  GPIO_InitStruct.Speed = GPIO_SPEED_FREQ_LOW;
  HAL_GPIO_Init(GPIOB, &GPIO_InitStruct);

  /* EXTI interrupt init*/
  HAL_NVIC_SetPriority(EXTI4_IRQn, 0, 0);
  HAL_NVIC_EnableIRQ(EXTI4_IRQn);

  HAL_NVIC_SetPriority(EXTI15_10_IRQn, 0, 0);
  HAL_NVIC_EnableIRQ(EXTI15_10_IRQn);

}

/* USER CODE BEGIN 4 */

/*
 * @brief   Timer elapsed interrupt callback
 */
void HAL_TIM_PeriodElapsedCallback (TIM_HandleTypeDef * htim) {
	if (htim == &htim2) {
		// Tuning (oscilloscope) indicator for ADC trigger, changes every 25us
		HAL_GPIO_TogglePin (DEBUG_GPIO_Port, DEBUG_Pin);
	} else if (htim == &htim3) {
		// Tuning (oscilloscope) indicator for energy calc, changes every 100ms
		HAL_GPIO_TogglePin (CLK_TUNE_GPIO_Port, CLK_TUNE_Pin);
		// Integrate energy totals
		energy_total_acc_count = calc_integrate_energy_totals();
	}
}

void HAL_I2C_MemTxCpltCallback(I2C_HandleTypeDef *hi2c) {
	ee24_lock = 0;

}
void HAL_I2C_MemRxCpltCallback(I2C_HandleTypeDef *hi2c) {
	ee24_lock = 0;
	ee24_read_done = true;
}

// External GPIO Interrupt
void HAL_GPIO_EXTI_Callback(uint16_t GPIO_Pin)
{
	switch(GPIO_Pin) {
	case GPIO_PIN_4:		// IRQ from Touch screen
		touch_action = 1;
		break;
	case GPIO_PIN_13:		// Blue button on Development board
		display_change = 1;
		//display_activate = 1;
		break;
	}
}

// ADC conversion - DMA buffer 2nd half full
void HAL_ADC_ConvCpltCallback(ADC_HandleTypeDef *hadc)
{
	if (hadc == &hadc1) {
		adc1_dma_h_count++;
	} else {
		adc2_dma_h_count++;
	}
}

// ADC conversion - DMA buffer 1st half full
void HAL_ADC_ConvHalfCpltCallback(ADC_HandleTypeDef *hadc)
{
	if (hadc == &hadc1) {
		adc1_dma_l_count++;
	} else {
		adc2_dma_l_count++;
	}
}

// ADC errors
void HAL_ADC_ErrorCallback(ADC_HandleTypeDef *hadc)
{
	int adc_num;
	if (hadc == &hadc1) {
	  adc_num = 1;
	} else {
	  adc_num = 2;
	}
	switch (hadc->ErrorCode) {
	case HAL_ADC_ERROR_NONE:
		term_print("ADC%d No Error (0x%08lx)\r\n", adc_num, hadc->ErrorCode);
		break;
	case HAL_ADC_ERROR_INTERNAL:
		term_print("ADC%d Internal Error (0x%08lx)\r\n", adc_num, hadc->ErrorCode);
		break;
	case HAL_ADC_ERROR_OVR:
		term_print("ADC%d Overrun Error (0x%08lx)\r\n", adc_num, hadc->ErrorCode);
		break;
	case HAL_ADC_ERROR_DMA:
		term_print("ADC%d DMA Error (0x%08lx)\r\n", adc_num, hadc->ErrorCode);
		break;
#if (USE_HAL_ADC_REGISTER_CALLBACKS == 1)
	case HAL_ADC_ERROR_INVALID_CALLBACK:
		term_print("ADC%d Callback Error (0x%08lx)  [%d]\r\n", adc_num, hadc->ErrorCode);
		break;
#endif /* USE_HAL_ADC_REGISTER_CALLBACKS */
	default:
		term_print("ADC Unknown Error: 0x%08lx\r\n", hadc->ErrorCode);
	}
}

// UART has received data
void HAL_UART_RxCpltCallback(UART_HandleTypeDef *huart) {
	// CLI command
	if (huart == &CLI_UART) {
		if (cli_rx_count >= sizeof(cli_rx_buff)) {
			cli_rx_count = 0;		// wrap back to start
		}
		if ( HAL_UART_Receive_IT(&CLI_UART, (uint8_t*)&cli_rx_byte, 1) == HAL_UART_ERROR_NONE) {
			// check for End of input (CR or LF)
			if ( (cli_rx_byte != 0x0A) && (cli_rx_byte !=  0x0D) ) {
				cli_rx_buff[cli_rx_count++] = cli_rx_byte;
			} else { // CR or LF detected
				if (cli_rx_count != 0) {	// a CR or LF without any pre-ceeding chars gets ignored
					cli_rx_cmd_ready = 1;
					cli_rx_buff[cli_rx_count++] = 0;	// end of string
				}
			}
		} // else { rx_error_count++; } // this should never happen
		return;
	}
#ifdef USE_WIFI
	// receive data from ESP
	if (huart == &ESP_UART) {
		if ( HAL_UART_Receive_IT(&ESP_UART, (uint8_t*)&esp_rx_byte, 1) == HAL_UART_ERROR_NONE) {
			if (esp_rx_count >= ESP_RX_BUF_SIZE) {		// prevent RX buffer overrun
				esp_rx_count = 0;
				esp_rx_buffer_overflow = true;				// set error flag
			}
			esp_rx_buf[esp_rx_count++] = esp_rx_byte;		// add received byte to RX buffer
		} else {	// this should never happen
			esp_rx_error_count++;
		}
	}
#endif
}

/* USER CODE END 4 */

void Error_Handler(void)
{
  /* USER CODE BEGIN Error_Handler_Debug */
    /* User can add his own implementation to report the HAL error return state */
	printf("Error_Handler() called - program execution stopped");
    __disable_irq();
    while (1)
    {
    }
  /* USER CODE END Error_Handler_Debug */
}
